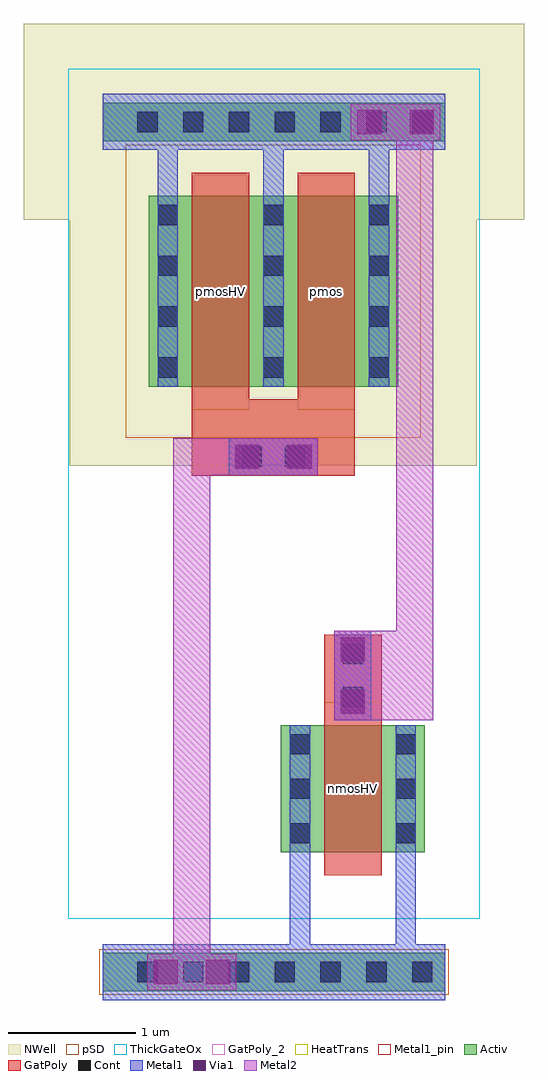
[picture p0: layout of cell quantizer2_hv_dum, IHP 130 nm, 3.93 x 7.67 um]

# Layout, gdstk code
import gdstk
lib = gdstk.Library(unit=1e-6, precision=1e-09)
def R(c, l, rs):  # rectangles x0, y0, x1, y1
    for r in rs: c.add(gdstk.rectangle(r[:2], r[2:], *l))
def A(c, l, x, y, w, h, nx, ny, dx, dy):  # array of equal rectangles
    R(c, l, [(x+i*dx, y+j*dy, x+i*dx+w, y+j*dy+h) for i in range(nx) for j in range(ny)])
Activ = (1, 0)
GatPoly = (5, 0)
GatPoly_2 = (5, 2)
Cont = (6, 0)
Metal1 = (8, 0)
Metal1_pin = (8, 2)
Metal2 = (10, 0)
pSD = (14, 0)
Via1 = (19, 0)
NWell = (31, 0)
ThickGateOx = (44, 0)
HeatTrans = (51, 0)

quantizer2_hv_dum = lib.new_cell('quantizer2_hv_dum')
A(quantizer2_hv_dum, Activ, 0.36, 4.6, 0.3, 0.3, 3, 1, 0.83, 0)
R(quantizer2_hv_dum, Activ, [(0,-0.15,2.69,0.15), (1.4,0.94,1.7,1.24), (1.4,0.94,2.53,1.94), (2.23,0.94,2.53,1.24), (0.36,4.6,2.32,6.1), (0,6.53,2.69,6.83)])
R(quantizer2_hv_dum, GatPoly, [(1.74,0.76,2.19,2.12), (1.74,1.94,2.19,2.65), (0.7,3.9,1.98,4.5), (0.7,4.42,1.15,6.28), (1.53,4.42,1.98,6.28)])
R(quantizer2_hv_dum, GatPoly_2, [(1.74,0.76,2.19,2.12), (0.7,4.42,1.15,6.28)])
A(quantizer2_hv_dum, Cont, 0.27, -0.08, 0.16, 0.16, 7, 2, 0.36, 6.68)
A(quantizer2_hv_dum, Cont, 1.47, 1.01, 0.16, 0.16, 1, 3, 0, 0.35)
A(quantizer2_hv_dum, Cont, 2.3, 1.01, 0.16, 0.16, 1, 3, 0, 0.35)
A(quantizer2_hv_dum, Cont, 0.43, 4.67, 0.16, 0.16, 3, 4, 0.83, 0.4)
R(quantizer2_hv_dum, Cont, [(1.885,2.08,2.045,2.24), (1.885,2.42,2.045,2.58), (1.09,3.97,1.25,4.13), (1.43,3.97,1.59,4.13)])
A(quantizer2_hv_dum, Metal1, 0.43, 4.6, 0.16, 1.5, 3, 1, 0.83, 0)
A(quantizer2_hv_dum, Metal1, 0.43, 6.1, 0.16, 0.8, 3, 1, 0.83, 0)
R(quantizer2_hv_dum, Metal1, [(0,-0.22,2.69,0.22), (1.47,-0.22,1.63,0.94), (2.3,-0.22,2.46,0.94), (0.35,-0.145,1.05,0.145), (1.47,0.94,1.63,1.94), (2.3,0.94,2.46,1.94), (1.82,1.98,2.11,2.68), (1.82,1.98,2.11,2.68), (0.99,3.905,1.69,4.195), (0.99,3.905,1.69,4.195), (0,6.46,2.69,6.9), (1.95,6.535,2.65,6.825)])
R(quantizer2_hv_dum, Metal1_pin, [(1.47,0.94,1.63,1.94), (2.3,0.94,2.46,1.94), (0.43,4.6,0.59,6.1), (1.26,4.6,1.42,6.1)])
R(quantizer2_hv_dum, Metal2, [(0.35,-0.145,1.05,0.145), (0.555,0,0.845,4.195), (1.82,1.98,2.11,2.68), (1.965,1.98,2.595,2.68), (2.305,2.185,2.595,6.68), (0.555,3.905,1.34,4.195), (0.99,3.905,1.69,4.195), (1.95,6.535,2.65,6.825)])
R(quantizer2_hv_dum, pSD, [(-0.03,-0.18,2.72,0.18), (0.18,4.2,2.5,6.5)])
R(quantizer2_hv_dum, Via1, [(0.4,-0.095,0.59,0.095), (0.81,-0.095,1,0.095), (1.87,2.03,2.06,2.22), (1.87,2.44,2.06,2.63), (1.04,3.955,1.23,4.145), (1.45,3.955,1.64,4.145), (2,6.585,2.19,6.775), (2.41,6.585,2.6,6.775)])
R(quantizer2_hv_dum, NWell, [(-0.26,3.98,2.94,6.68), (-0.26,3.98,2.94,6.72), (-0.62,5.91,3.31,7.45)])
R(quantizer2_hv_dum, ThickGateOx, [(-0.27,0.42,2.96,6.68), (1.13,0.42,2.8,2.46), (-0.26,3.98,2.94,6.72), (-0.27,6.26,2.96,7.1)])
R(quantizer2_hv_dum, HeatTrans, [(1.74,0.76,2.19,2.12), (0.7,4.42,1.15,6.28), (1.53,4.42,1.98,6.28)])
quantizer2_hv_dum.add(gdstk.Label('nmosHV', (1.965,1.44), layer=63, texttype=0))
quantizer2_hv_dum.add(gdstk.Label('pmosHV', (0.925,5.35), layer=63, texttype=0))
quantizer2_hv_dum.add(gdstk.Label('nmosHV', (1.965,1.44), layer=51, texttype=0))
quantizer2_hv_dum.add(gdstk.Label('pmos', (0.925,5.35), layer=51, texttype=0))
quantizer2_hv_dum.add(gdstk.Label('pmos', (1.755,5.35), layer=51, texttype=0))

lib.write_gds('quantizer2_hv_dum.gds')
